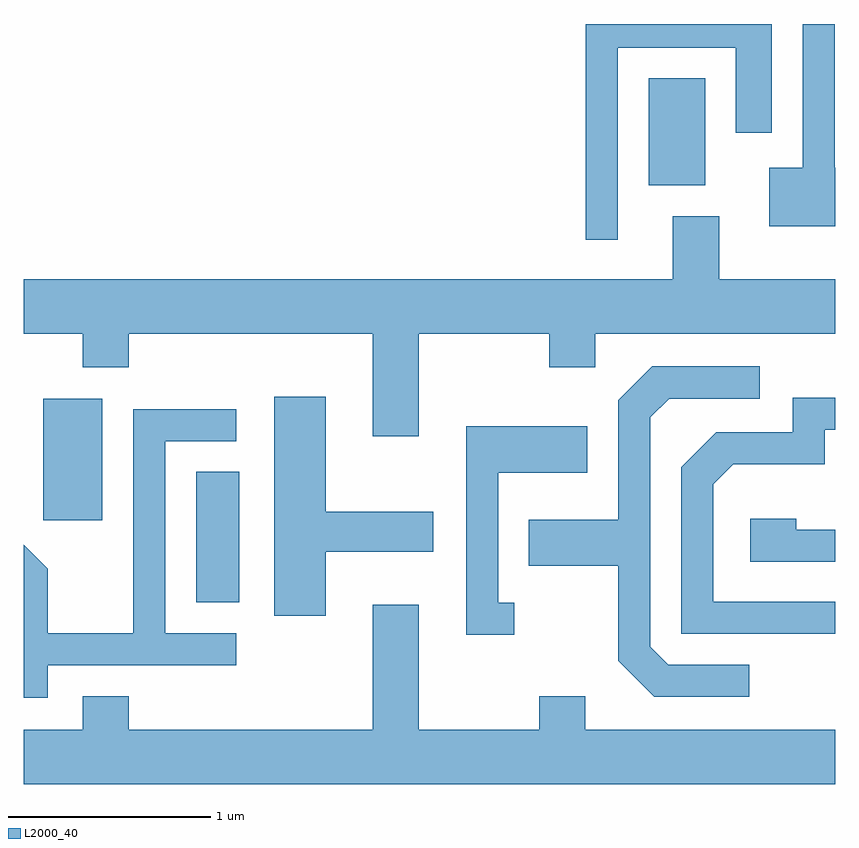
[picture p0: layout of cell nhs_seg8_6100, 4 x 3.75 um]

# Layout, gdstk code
import gdstk
lib = gdstk.Library(unit=1e-6, precision=1e-09)
def R(c, l, rs):  # rectangles x0, y0, x1, y1
    for r in rs: c.add(gdstk.rectangle(r[:2], r[2:], *l))
def P(c, l, *ps):  # polygons
    for p in ps: c.add(gdstk.Polygon(p, *l))
L2000_40 = (2000, 40)

nhs_seg8_6100 = lib.new_cell('nhs_seg8_6100')
R(nhs_seg8_6100, L2000_40, [(368.461,1879.491,368.674,1880.134), (367.706,1879.896,367.999,1880.494), (370.691,1881.546,370.969,1882.074)])
P(nhs_seg8_6100, L2000_40, [(370.539,1882.226),(371.121,1882.226),(371.121,1881.806),(371.299,1881.806),(371.299,1882.342),(370.381,1882.342),(370.381,1881.278),(370.539,1881.278)],
  [(371.611,1881.634),(371.609,1881.634),(371.609,1882.342),(371.451,1882.342),(371.451,1881.634),(371.286,1881.634),(371.286,1881.346),(371.611,1881.346)],
  [(369.559,1880.816),(370.201,1880.816),(370.201,1880.651),(370.429,1880.651),(370.429,1880.816),(371.611,1880.816),(371.611,1881.084),(371.039,1881.084),(371.039,1881.394),(370.811,1881.394),(370.811,1881.084),(367.611,1881.084),(367.611,1880.816),(367.901,1880.816),(367.901,1880.651),(368.129,1880.651),(368.129,1880.816),(369.331,1880.816),(369.331,1880.311),(369.559,1880.311)],
  [(371.188,1879.184),(370.787,1879.184),(370.699,1879.272),(370.699,1880.404),(370.792,1880.496),(371.238,1880.496),(371.238,1880.654),(370.709,1880.654),(370.541,1880.487),(370.541,1879.899),(370.101,1879.899),(370.101,1879.671),(370.541,1879.671),(370.541,1879.204),(370.719,1879.026),(371.188,1879.026)],
  [(369.099,1879.741),(369.629,1879.741),(369.629,1879.939),(369.099,1879.939),(369.099,1880.504),(368.846,1880.504),(368.846,1879.426),(369.099,1879.426)],
  [(371.611,1879.494),(371.009,1879.494),(371.009,1880.074),(371.107,1880.171),(371.559,1880.171),(371.559,1880.341),(371.611,1880.341),(371.611,1880.499),(371.401,1880.499),(371.401,1880.329),(371.024,1880.329),(370.851,1880.157),(370.851,1879.336),(371.611,1879.336)],
  [(367.729,1879.181),(368.658,1879.181),(368.658,1879.339),(368.309,1879.339),(368.309,1880.286),(368.658,1880.286),(368.658,1880.444),(368.151,1880.444),(368.151,1879.339),(367.729,1879.339),(367.729,1879.657),(367.611,1879.775),(367.611,1879.021),(367.729,1879.021)],
  [(370.028,1879.489),(369.949,1879.489),(369.949,1880.131),(370.389,1880.131),(370.389,1880.359),(369.791,1880.359),(369.791,1879.331),(370.028,1879.331)],
  [(371.611,1879.849),(371.419,1879.849),(371.419,1879.904),(371.191,1879.904),(371.191,1879.691),(371.611,1879.691)],
  [(371.611,1878.864),(370.379,1878.864),(370.379,1879.029),(370.151,1879.029),(370.151,1878.864),(369.559,1878.864),(369.559,1879.479),(369.331,1879.479),(369.331,1878.864),(368.129,1878.864),(368.129,1879.029),(367.901,1879.029),(367.901,1878.864),(367.611,1878.864),(367.611,1878.596),(371.611,1878.596)])

lib.write_gds('nhs_seg8_6100.gds')
